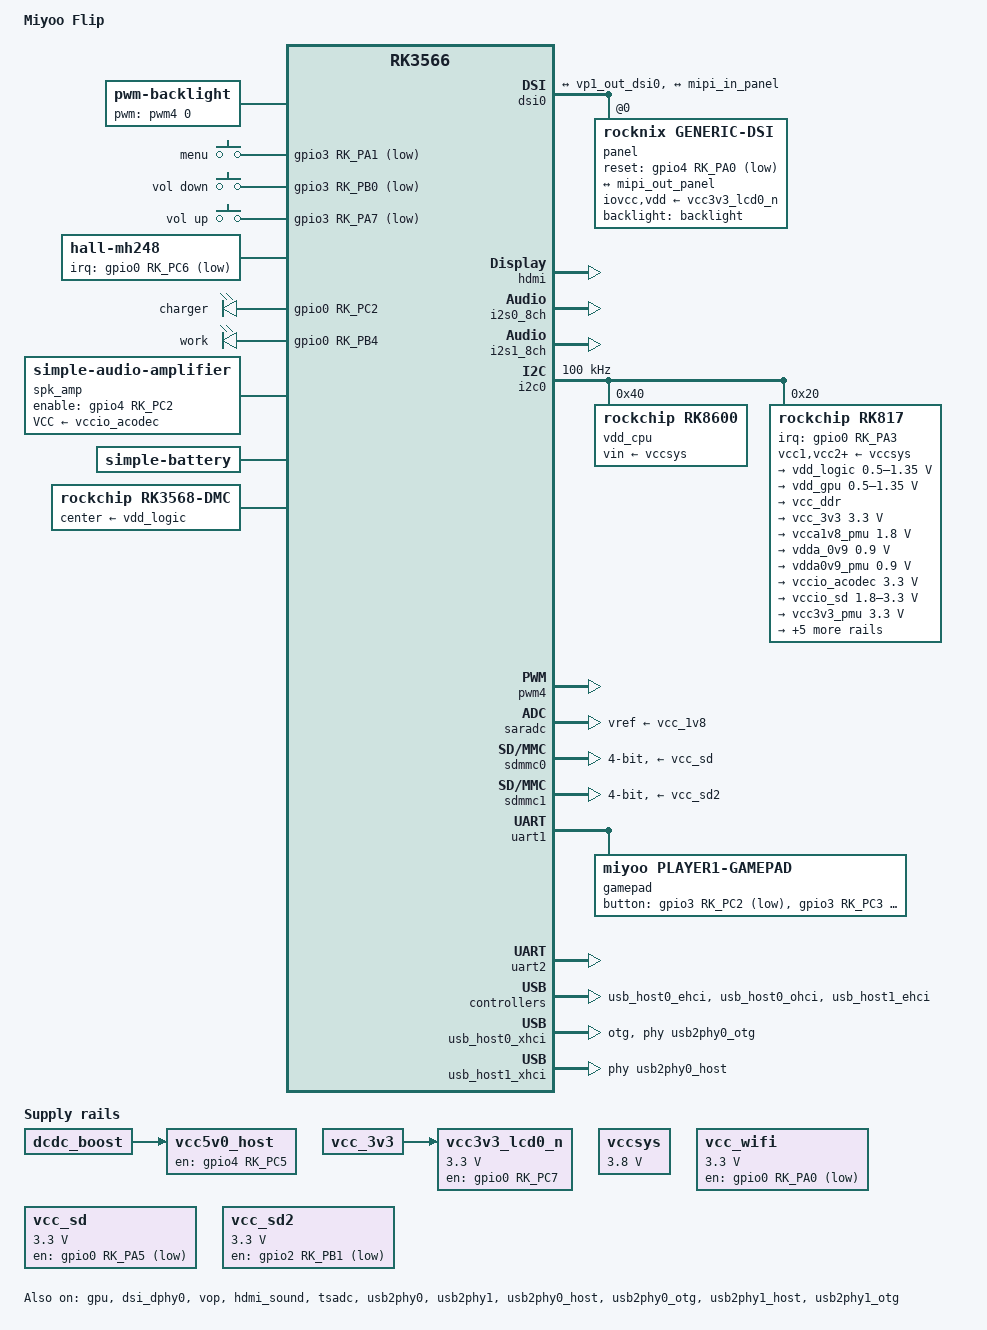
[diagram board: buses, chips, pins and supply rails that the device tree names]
// SPDX-License-Identifier: (GPL-2.0+ OR MIT)
/*
 * Miyoo Flip (my355) for BaseOS on mainline Linux.
 *
 * Hardware description after zlyme/ROCKNIX; every name stock-built software
 * reads follows the vendor DTB instead (docs/mainline-compat.md).
 */
/dts-v1/;

#include <dt-bindings/gpio/gpio.h>
#include <dt-bindings/input/input.h>
#include <dt-bindings/pinctrl/rockchip.h>
#include <dt-bindings/soc/rockchip,vop2.h>
#include "rk3566.dtsi"

/ {
	model = "Miyoo Flip";
	chassis-type = "handset";
	compatible = "miyoo,flip", "rockchip,rk3566";

	/* As the vendor kernel: the boot slot is mmcblk1, the second slot mmcblk2. */
	aliases {
		mmc1 = &sdmmc0;
		mmc2 = &sdmmc1;
		/* The codec is card 0, ALSA's default device, as on stock. */
		sound0 = &rk817_sound;
		sound1 = &hdmi_sound;
	};

	chosen {
		/*
		 * root= is GPT entry 3 (tools/mkgpt.py; mkfit.py checks it). init=:
		 * a disk root only tries /sbin/init and friends. The performance
		 * governor holds until the frontend picks one. USB devices wait for
		 * rcS to authorize them, or the WiFi chip's probe races the root mount.
		 */
		bootargs = "root=/dev/mmcblk1p3 rootfstype=ext4 rootwait ro init=/init quiet cpufreq.default_governor=performance usbcore.authorized_default=0";
		stdout-path = "serial2:1500000n8";
	};

	reserved-memory {
		/* The vendor OP-TEE, which mainline U-Boot does not describe. */
		optee@8400000 {
			reg = <0x0 0x08400000 0x0 0x01000000>;
			no-map;
		};
	};

	/*
	 * Brightness is the duty in 255ths, from 2%, where the panel still lights.
	 * Stock's table holds 1-38 at 7.8-15%; from 39 up the two are the same.
	 */
	backlight: backlight {
		compatible = "pwm-backlight";
		pwms = <&pwm4 0 1250000 0>;
		brightness-levels = <
			  0   5   5   5   5   5   6   7   8   9  10  11  12  13  14  15
			 16  17  18  19  20  21  22  23  24  25  26  27  28  29  30  31
			 32  33  34  35  36  37  38  39  40  41  42  43  44  45  46  47
			 48  49  50  51  52  53  54  55  56  57  58  59  60  61  62  63
			 64  65  66  67  68  69  70  71  72  73  74  75  76  77  78  79
			 80  81  82  83  84  85  86  87  88  89  90  91  92  93  94  95
			 96  97  98  99 100 101 102 103 104 105 106 107 108 109 110 111
			112 113 114 115 116 117 118 119 120 121 122 123 124 125 126 127
			128 129 130 131 132 133 134 135 136 137 138 139 140 141 142 143
			144 145 146 147 148 149 150 151 152 153 154 155 156 157 158 159
			160 161 162 163 164 165 166 167 168 169 170 171 172 173 174 175
			176 177 178 179 180 181 182 183 184 185 186 187 188 189 190 191
			192 193 194 195 196 197 198 199 200 201 202 203 204 205 206 207
			208 209 210 211 212 213 214 215 216 217 218 219 220 221 222 223
			224 225 226 227 228 229 230 231 232 233 234 235 236 237 238 239
			240 241 242 243 244 245 246 247 248 249 250 251 252 253 254 255>;
		default-brightness-level = <200>;
	};

	/*
	 * event0 for keymon, stock's node and codes trimmed to the three keys it
	 * reads; the game buttons are the gamepad's, so they are not typed twice.
	 * First under / so it registers before the other input devices.
	 */
	gpio-keys-polled {
		compatible = "gpio-keys-polled";
		autorepeat;
		poll-interval = <10>;
		pinctrl-names = "default";
		pinctrl-0 = <&key_pins>;

		mode-button {
			gpios = <&gpio3 RK_PA1 GPIO_ACTIVE_LOW>;
			label = "menu";
			linux,code = <KEY_ESC>;
		};
		vol-down-button {
			gpios = <&gpio3 RK_PB0 GPIO_ACTIVE_LOW>;
			label = "vol down";
			linux,code = <KEY_VOLUMEDOWN>;
		};
		vol-up-button {
			gpios = <&gpio3 RK_PA7 GPIO_ACTIVE_LOW>;
			label = "vol up";
			linux,code = <KEY_VOLUMEUP>;
		};
	};

	/* Stock's node, verbatim, for drivers/stock/hall-mh248.c. */
	hall-mh248 {
		compatible = "hall-mh248";
		hall-active = <1>;
		irq-gpio = <&gpio0 RK_PC6 (GPIO_ACTIVE_LOW | GPIO_SINGLE_ENDED)>;
	};

	/* Named as on stock: the Status LED pak writes work/ and charger/. */
	leds {
		compatible = "gpio-leds";

		charger {
			gpios = <&gpio0 RK_PC2 GPIO_ACTIVE_HIGH>;
			linux,default-trigger = "battery-charging";
			retain-state-suspended;
		};

		work {
			gpios = <&gpio0 RK_PB4 GPIO_ACTIVE_HIGH>;
			linux,default-trigger = "default-on";
		};
	};

	spk_amp: audio-amplifier {
		compatible = "simple-audio-amplifier";
		VCC-supply = <&vccio_acodec>;
		enable-gpios = <&gpio4 RK_PC2 GPIO_ACTIVE_HIGH>;
		pinctrl-names = "default";
		pinctrl-0 = <&spk_amp_enable_h>;
		sound-name-prefix = "Speaker Amp";
	};

	/*
	 * ALSA card id "rockchiprk817", which libmsettings looks for. No
	 * hp-det-gpios: GPIO4_C6 stays free for userspace as gpio150. The pin
	 * switches are what the codec's vendor "Playback Path" drives.
	 */
	rk817_sound: rk817-sound {
		compatible = "simple-audio-card";
		simple-audio-card,name = "rockchip-rk817";
		simple-audio-card,format = "i2s";
		simple-audio-card,aux-devs = <&spk_amp>;
		simple-audio-card,mclk-fs = <256>;
		simple-audio-card,widgets =
			"Microphone", "Mic Jack",
			"Headphone", "Headphone",
			"Speaker", "Speaker";
		simple-audio-card,routing =
			"MICL", "Mic Jack",
			"Headphone", "HPOL",
			"Headphone", "HPOR",
			"Speaker Amp INL", "SPKO",
			"Speaker Amp INR", "SPKO",
			"Speaker", "Speaker Amp OUTL",
			"Speaker", "Speaker Amp OUTR";
		simple-audio-card,pin-switches = "Speaker", "Headphone", "Mic Jack";

		simple-audio-card,cpu {
			sound-dai = <&i2s1_8ch>;
		};
		simple-audio-card,codec {
			sound-dai = <&rk817>;
		};
	};

	/*
	 * The vendor tree's cell: charged to 4.2 V, finished at 300 mA, and its
	 * ocv_table. The charge current is what the vendor kernel programmed.
	 */
	battery: battery {
		compatible = "simple-battery";
		charge-full-design-microamp-hours = <3000000>;
		charge-term-current-microamp = <300000>;
		constant-charge-current-max-microamp = <1500000>;
		constant-charge-voltage-max-microvolt = <4200000>;
		factory-internal-resistance-micro-ohms = <100000>;
		voltage-max-design-microvolt = <4200000>;
		voltage-min-design-microvolt = <3200000>;
		ocv-capacity-celsius = <20>;
		ocv-capacity-table-0 =
			<4150000 100>, <4057000 95>,  <3998000 90>,  <3967000 85>,  <3930000 80>,
			<3883000 75>,  <3849000 70>,  <3816000 65>,  <3773000 60>,  <3722000 55>,
			<3676000 50>,  <3638000 45>,  <3609000 40>,  <3587000 35>,  <3566000 30>,
			<3547000 25>,  <3525000 20>,  <3500000 15>,  <3469000 10>,  <3426000 5>,
			<3378000 0>;
	};

	vccsys: vccsys {
		compatible = "regulator-fixed";
		regulator-name = "vcc3v8_sys";
		regulator-always-on;
		regulator-boot-on;
		regulator-min-microvolt = <3800000>;
		regulator-max-microvolt = <3800000>;
	};

	/* The RTL8733BU's power (WiFi and Bluetooth): GPIO0_A0, active low. */
	vcc_wifi: vcc-wifi-regulator {
		compatible = "regulator-fixed";
		regulator-name = "vcc_wifi";
		regulator-min-microvolt = <3300000>;
		regulator-max-microvolt = <3300000>;
		regulator-boot-on;
		gpio = <&gpio0 RK_PA0 GPIO_ACTIVE_LOW>;
		pinctrl-names = "default";
		pinctrl-0 = <&wifi_enable_h>;
	};

	/* Stock's node, for drivers/stock/rkwifi.c: /sys/class/rkwifi over vcc_wifi. */
	wireless-wlan {
		compatible = "wlan-platdata";
		wifi_chip_type = "rtl8733bu";
		power-supply = <&vcc_wifi>;
	};

	vcc5v0_host: vcc5v0-host-regulator {
		compatible = "regulator-fixed";
		regulator-name = "vcc5v0_host";
		enable-active-high;
		gpio = <&gpio4 RK_PC5 GPIO_ACTIVE_HIGH>;
		vin-supply = <&dcdc_boost>;
		pinctrl-names = "default";
		pinctrl-0 = <&vcc5v0_host_en>;
	};

	/* U-Boot already switched it on (build-uboot.sh PANEL). */
	vcc3v3_lcd0_n: vcc3v3-lcd0-n {
		compatible = "regulator-fixed";
		regulator-name = "vcc3v3_lcd0_n";
		regulator-min-microvolt = <3300000>;
		regulator-max-microvolt = <3300000>;
		enable-active-high;
		gpio = <&gpio0 RK_PC7 GPIO_ACTIVE_HIGH>;
		vin-supply = <&vcc_3v3>;
		regulator-boot-on;
	};

	/*
	 * boot-on as on stock, so probe never cuts the card U-Boot booted from: a
	 * card cut and repowered on this board may not answer (docs/uboot.md).
	 */
	vcc_sd: vcc-sd {
		compatible = "regulator-fixed";
		regulator-name = "vcc_sd";
		regulator-boot-on;
		enable-active-low;
		gpio = <&gpio0 RK_PA5 GPIO_ACTIVE_LOW>;
		regulator-min-microvolt = <3300000>;
		regulator-max-microvolt = <3300000>;
		pinctrl-names = "default";
		pinctrl-0 = <&vcc_sd_h>;
	};

	vcc_sd2: vcc-sd2 {
		compatible = "regulator-fixed";
		regulator-name = "vcc_sd2";
		regulator-boot-on;
		enable-active-low;
		gpio = <&gpio2 RK_PB1 GPIO_ACTIVE_LOW>;
		regulator-min-microvolt = <3300000>;
		regulator-max-microvolt = <3300000>;
		pinctrl-names = "default";
		pinctrl-0 = <&vcc_sd2_h>;
	};

	/*
	 * Stock's BL31 suspend mode (drivers/hardware/rockchip-pm-config.c): 0x5ec is
	 * CENTER_OFF, ARMOFF_LOGOFF, PMIC_LP, HW_PLLS_OFF, PMUALIVE_32K, OSC_DIS
	 * and 32K_PVTM; 0x10 wakes on GPIO (power key, lid).
	 */
	rockchip-suspend {
		compatible = "rockchip,pm-rk3568";
		rockchip,sleep-mode-config = <0x5ec>;
		rockchip,wakeup-config = <0x10>;
	};

	/*
	 * DDR scaling through BL31 (drivers/hardware/rk3568-dmc.c), named as on
	 * stock: devfreq/dmc. The rates are BL31's, the voltages stock's per bin.
	 */
	dmc: dmc {
		compatible = "rockchip,rk3568-dmc";
		interrupts = <GIC_SPI 10 IRQ_TYPE_LEVEL_HIGH>;
		interrupt-names = "complete";
		devfreq-events = <&dfi>;
		center-supply = <&vdd_logic>;
		/* SCMI_CLK_DDR, which the bindings header lacks. */
		clocks = <&scmi_clk 3>;
		clock-names = "dmc_clk";
		operating-points-v2 = <&dmc_opp_table>;
	};

	dmc_opp_table: dmc-opp-table {
		compatible = "operating-points-v2";
		nvmem-cells = <&log_leakage>, <&cpu_pvtm>, <&mbist_vmin>;
		nvmem-cell-names = "leakage", "pvtm", "mbist-vmin";
		mbist-vmin = <825000 900000 950000>;
		rockchip,leakage-voltage-sel = <
			1	80	0
			81	254	1
		>;
		rockchip,pvtm-voltage-sel = <
			0	84000	0
			84001	100000	1
		>;

		opp-324000000 {
			opp-hz = /bits/ 64 <324000000>;
			opp-microvolt = <900000>;
			opp-microvolt-L1 = <875000>;
		};
		opp-528000000 {
			opp-hz = /bits/ 64 <528000000>;
			opp-microvolt = <900000>;
			opp-microvolt-L1 = <875000>;
		};
		opp-780000000 {
			opp-hz = /bits/ 64 <780000000>;
			opp-microvolt = <900000>;
			opp-microvolt-L1 = <875000>;
		};
		opp-1056000000 {
			opp-hz = /bits/ 64 <1056000000>;
			opp-microvolt = <900000>;
			opp-microvolt-L1 = <875000>;
		};
	};
};

&cpu0 {
	cpu-supply = <&vdd_cpu>;
};

&cpu1 {
	cpu-supply = <&vdd_cpu>;
};

&cpu2 {
	cpu-supply = <&vdd_cpu>;
};

&cpu3 {
	cpu-supply = <&vdd_cpu>;
};

/*
 * Stock's per-bin voltages, picked by rockchip-cpufreq-nvmem: past 816 MHz the
 * PVTPLL clock follows the voltage. 1992 is not turbo-mode: NextUI caps one below.
 */
&cpu0_opp_table {
	nvmem-cells = <&cpu_pvtm>, <&mbist_vmin>;
	nvmem-cell-names = "pvtm", "mbist-vmin";
	mbist-vmin = <825000 900000 950000>;
	rockchip,pvtm-voltage-sel = <
		0	84000	0
		84001	87000	1
		87001	91000	2
		91001	100000	3
	>;

	opp-1104000000 {
		opp-microvolt-L1 = <850000 850000 1150000>;
		opp-microvolt-L2 = <850000 850000 1150000>;
		opp-microvolt-L3 = <850000 850000 1150000>;
	};

	opp-1416000000 {
		opp-microvolt-L1 = <975000 975000 1150000>;
		opp-microvolt-L2 = <950000 950000 1150000>;
		opp-microvolt-L3 = <925000 925000 1150000>;
	};

	opp-1608000000 {
		opp-microvolt-L1 = <1050000 1050000 1150000>;
		opp-microvolt-L2 = <1025000 1025000 1150000>;
		opp-microvolt-L3 = <1000000 1000000 1150000>;
	};

	opp-1800000000 {
		opp-microvolt-L1 = <1100000 1100000 1150000>;
		opp-microvolt-L2 = <1075000 1075000 1150000>;
		opp-microvolt-L3 = <1050000 1050000 1150000>;
	};

	opp-1992000000 {
		opp-hz = /bits/ 64 <1992000000>;
		opp-microvolt = <1150000 1150000 1150000>;
		opp-microvolt-L1 = <1150000 1150000 1150000>;
		opp-microvolt-L2 = <1125000 1125000 1150000>;
		opp-microvolt-L3 = <1100000 1100000 1150000>;
		clock-latency-ns = <40000>;
	};
};

&cru {
	assigned-clocks = <&pmucru CLK_RTC_32K>, <&cru PLL_GPLL>,
			  <&pmucru PLL_PPLL>, <&cru PLL_VPLL>;
	assigned-clock-rates = <32768>, <1200000000>,
			       <200000000>, <1200000000>;
};

&gpu {
	mali-supply = <&vdd_gpu>;
	status = "okay";
};

/* Stock's top step, which the vendor BL31 serves; mainline stops at 800 MHz. */
&gpu_opp_table {
	opp-900000000 {
		opp-hz = /bits/ 64 <900000000>;
		opp-microvolt = <1000000 1000000 1000000>;
	};
};

&dsi0 {
	status = "okay";
	#address-cells = <1>;
	#size-cells = <0>;

	ports {
		dsi0_in: port@0 {
			reg = <0>;
			dsi0_in_vp1: endpoint {
				remote-endpoint = <&vp1_out_dsi0>;
			};
		};

		dsi0_out: port@1 {
			reg = <1>;
			mipi_out_panel: endpoint {
				remote-endpoint = <&mipi_in_panel>;
			};
		};
	};

	/*
	 * FT8006M, 640x480, 2 lanes; init sequence from the vendor DTB. Waits
	 * shortened as on the vendor path (docs/uboot.md): 120 ms after sleep-out,
	 * none after display-on.
	 */
	panel: panel@0 {
		compatible = "rocknix,generic-dsi";
		reg = <0>;
		panel_description =
			"G size=68,121 delays=0,10,120,0,20 format=rgb888 lanes=2 flags=0xa03",
			"M clock=32000 horizontal=640,150,120,120 vertical=480,20,6,12 default=1",
			"I seq=11 wait=120",
			"I seq=29 wait=32",
			"I seq=b9f11287",
			"I seq=b2780470",
			"I seq=b31010282803ff00000000",
			"I seq=b480",
			"I seq=b50a0a",
			"I seq=b82622f013",
			"I seq=ba318105f90e0e2000000000000000442500910a0000014f01000037",
			"I seq=bc47",
			"I seq=bf0211008004",
			"I seq=c0737350500000127300",
			"I seq=c17300323277f47777ccccffff1111000032",
			"I seq=c710000a0000000000edc500a5",
			"I seq=c810401e03",
			"I seq=cc0b",
			"I seq=e0000509293c3f3b37050a0c10131013121a000509293c3f3b37050a0c10131013121a",
			"I seq=e111119100000000",
			"I seq=e307070b0b0b0b00000000ff04c010",
			"I seq=e9c810020000b0b11131232880b0b127080004020000000004020000008888ba60240888888888888888ba713518888888888800000001000000000000000000",
			"I seq=ea970a820203070000000000008188ba17538888888888888088ba064288888888888823000002a500000000000000000000000000000000000000000000",
			"I seq=a500",
			"I seq=efffff01";
		pinctrl-names = "default";
		pinctrl-0 = <&lcd_rst>;
		reset-gpios = <&gpio4 RK_PA0 GPIO_ACTIVE_LOW>;
		backlight = <&backlight>;
		iovcc-supply = <&vcc3v3_lcd0_n>;
		vdd-supply = <&vcc3v3_lcd0_n>;

		port {
			mipi_in_panel: endpoint {
				remote-endpoint = <&mipi_out_panel>;
			};
		};
	};
};

&dsi_dphy0 {
	status = "okay";
};

&vp1 {
	vp1_out_dsi0: endpoint@ROCKCHIP_VOP2_EP_MIPI0 {
		reg = <ROCKCHIP_VOP2_EP_MIPI0>;
		remote-endpoint = <&dsi0_in_vp1>;
	};
};

&vp0 {
	vp0_out_hdmi: endpoint@ROCKCHIP_VOP2_EP_HDMI0 {
		reg = <ROCKCHIP_VOP2_EP_HDMI0>;
		remote-endpoint = <&hdmi_in_vp0>;
	};
};

&vop {
	status = "okay";
	assigned-clocks = <&cru DCLK_VOP0>, <&cru DCLK_VOP1>;
	assigned-clock-parents = <&pmucru PLL_HPLL>, <&cru PLL_VPLL>;
};

&vop_mmu {
	status = "okay";
};

&hdmi {
	status = "okay";
	avdd-0v9-supply = <&vdda_0v9>;
	avdd-1v8-supply = <&vcc_1v8>;
};

&hdmi_in {
	hdmi_in_vp0: endpoint {
		remote-endpoint = <&vp0_out_hdmi>;
	};
};

/* ALSA card id "rockchiphdmi", which libmsettings switches to on HDMI. */
&hdmi_sound {
	simple-audio-card,name = "rockchip,hdmi";
	status = "okay";
};

&i2s0_8ch {
	status = "okay";
};

&i2s1_8ch {
	status = "okay";
	rockchip,trcm-sync-tx-only;
	pinctrl-names = "default";
	pinctrl-0 = <&i2s1m0_sclktx &i2s1m0_lrcktx &i2s1m0_sdi0 &i2s1m0_sdo0>;
};

&i2c0 {
	status = "okay";
	clock-frequency = <100000>;

	vdd_cpu: regulator@40 {
		compatible = "rockchip,rk8600";
		reg = <0x40>;
		vin-supply = <&vccsys>;
		regulator-name = "vdd_cpu";
		regulator-min-microvolt = <712500>;
		regulator-max-microvolt = <1390000>;
		regulator-ramp-delay = <2300>;
		/* A wrong selector drops the CPU rail right after probe. */
		fcs,suspend-voltage-selector = <1>;
		regulator-boot-on;
		regulator-always-on;

		regulator-state-mem {
			regulator-off-in-suspend;
		};
	};

	rk817: pmic@20 {
		compatible = "rockchip,rk817";
		reg = <0x20>;
		interrupt-parent = <&gpio0>;
		interrupts = <RK_PA3 IRQ_TYPE_LEVEL_LOW>;
		pinctrl-names = "default";
		pinctrl-0 = <&pmic_int_l>, <&i2s1m0_mclk>, <&pmic_pins>;
		system-power-controller;
		wakeup-source;
		#clock-cells = <1>;
		#sound-dai-cells = <0>;
		clock-output-names = "rk808-clkout1", "rk808-clkout2";
		clock-names = "mclk";
		clocks = <&cru I2S1_MCLKOUT_TX>;
		assigned-clocks = <&cru I2S1_MCLKOUT_TX>;
		assigned-clock-parents = <&cru CLK_I2S1_8CH_TX>;
		assigned-clock-rates = <12288000>;

		vcc1-supply = <&vccsys>;
		vcc2-supply = <&vccsys>;
		vcc3-supply = <&vccsys>;
		vcc4-supply = <&vccsys>;
		vcc5-supply = <&vccsys>;
		vcc6-supply = <&vccsys>;
		vcc7-supply = <&vccsys>;
		vcc8-supply = <&vccsys>;
		/* Not dcdc_boost: that would be a pmic -> BOOST -> pmic devlink cycle. */
		vcc9-supply = <&vccsys>;

		pwrkey {
			status = "okay";
		};

		/* Sleep states are stock's, but vccio_sd: BaseOS runs from the card. */
		regulators {
			vdd_logic: DCDC_REG1 {
				regulator-name = "vdd_logic";
				regulator-always-on;
				regulator-boot-on;
				regulator-min-microvolt = <500000>;
				regulator-max-microvolt = <1350000>;
				regulator-ramp-delay = <6001>;
				regulator-initial-mode = <0x2>;

				regulator-state-mem {
					regulator-off-in-suspend;
				};
			};

			/*
			 * Always-on: mali_kbase disables it on runtime suspend without
			 * having enabled it, and the unused-regulator cleanup then cuts it.
			 */
			vdd_gpu: DCDC_REG2 {
				regulator-name = "vdd_gpu";
				regulator-always-on;
				regulator-boot-on;
				regulator-min-microvolt = <500000>;
				regulator-max-microvolt = <1350000>;
				regulator-ramp-delay = <6001>;
				regulator-initial-mode = <0x2>;

				regulator-state-mem {
					regulator-off-in-suspend;
				};
			};

			vcc_ddr: DCDC_REG3 {
				regulator-name = "vcc_ddr";
				regulator-always-on;
				regulator-boot-on;
				regulator-initial-mode = <0x2>;

				regulator-state-mem {
					regulator-on-in-suspend;
				};
			};

			vcc_3v3: DCDC_REG4 {
				regulator-name = "vcc_3v3";
				regulator-always-on;
				regulator-boot-on;
				regulator-min-microvolt = <3300000>;
				regulator-max-microvolt = <3300000>;
				regulator-initial-mode = <0x2>;

				regulator-state-mem {
					regulator-off-in-suspend;
				};
			};

			vcca1v8_pmu: LDO_REG1 {
				regulator-name = "vcca1v8_pmu";
				regulator-always-on;
				regulator-boot-on;
				regulator-min-microvolt = <1800000>;
				regulator-max-microvolt = <1800000>;

				regulator-state-mem {
					regulator-on-in-suspend;
					regulator-suspend-microvolt = <1800000>;
				};
			};

			vdda_0v9: LDO_REG2 {
				regulator-name = "vdda_0v9";
				regulator-always-on;
				regulator-boot-on;
				regulator-min-microvolt = <900000>;
				regulator-max-microvolt = <900000>;

				regulator-state-mem {
					regulator-off-in-suspend;
				};
			};

			vdda0v9_pmu: LDO_REG3 {
				regulator-name = "vdda0v9_pmu";
				regulator-always-on;
				regulator-boot-on;
				regulator-min-microvolt = <900000>;
				regulator-max-microvolt = <900000>;

				regulator-state-mem {
					regulator-on-in-suspend;
					regulator-suspend-microvolt = <900000>;
				};
			};

			vccio_acodec: LDO_REG4 {
				regulator-name = "vccio_acodec";
				regulator-always-on;
				regulator-boot-on;
				regulator-min-microvolt = <3300000>;
				regulator-max-microvolt = <3300000>;

				regulator-state-mem {
					regulator-off-in-suspend;
				};
			};

			vccio_sd: LDO_REG5 {
				regulator-name = "vccio_sd";
				regulator-always-on;
				regulator-boot-on;
				regulator-min-microvolt = <1800000>;
				regulator-max-microvolt = <3300000>;

				regulator-state-mem {
					regulator-on-in-suspend;
					regulator-suspend-microvolt = <3300000>;
				};
			};

			vcc3v3_pmu: LDO_REG6 {
				regulator-name = "vcc3v3_pmu";
				regulator-always-on;
				regulator-boot-on;
				regulator-min-microvolt = <3300000>;
				regulator-max-microvolt = <3300000>;

				regulator-state-mem {
					regulator-on-in-suspend;
					regulator-suspend-microvolt = <3300000>;
				};
			};

			vcc_1v8: LDO_REG7 {
				regulator-name = "vcc_1v8";
				regulator-always-on;
				regulator-boot-on;
				regulator-min-microvolt = <1800000>;
				regulator-max-microvolt = <1800000>;

				regulator-state-mem {
					regulator-off-in-suspend;
				};
			};

			vcc1v8_dvp: LDO_REG8 {
				regulator-name = "vcc1v8_dvp";
				regulator-min-microvolt = <1800000>;
				regulator-max-microvolt = <1800000>;

				regulator-state-mem {
					regulator-off-in-suspend;
				};
			};

			vcc2v8_dvp: LDO_REG9 {
				regulator-name = "vcc2v8_dvp";
				regulator-min-microvolt = <2800000>;
				regulator-max-microvolt = <2800000>;

				regulator-state-mem {
					regulator-off-in-suspend;
				};
			};

			dcdc_boost: BOOST {
				regulator-name = "boost";
				regulator-min-microvolt = <5000000>;
				regulator-max-microvolt = <5000000>;

				regulator-state-mem {
					regulator-off-in-suspend;
				};
			};

			otg_switch: OTG_SWITCH {
				regulator-name = "otg_switch";

				regulator-state-mem {
					regulator-off-in-suspend;
				};
			};
		};

		/* Supplies named battery and usb by patch 0022, as stock software reads them. */
		rk817_charger: charger {
			monitored-battery = <&battery>;
			rockchip,resistor-sense-micro-ohms = <10000>;
			rockchip,sleep-enter-current-microamp = <300000>;
			rockchip,sleep-filter-current-microamp = <100000>;
		};

		codec {
		};
	};
};

&otp {
	nvmem-layout {
		mbist_vmin: mbist-vmin@9 {
			reg = <0x09 0x1>;
			bits = <0 4>;
		};

		cpu_pvtm: cpu-pvtm@2a {
			reg = <0x2a 0x2>;
		};
	};
};

&pinctrl {
	buttons {
		key_pins: key-pins {
			rockchip,pins =
				<3 RK_PA1 RK_FUNC_GPIO &pcfg_pull_up>,
				<3 RK_PA7 RK_FUNC_GPIO &pcfg_pull_up>,
				<3 RK_PB0 RK_FUNC_GPIO &pcfg_pull_up>;
		};

		pad_pins: pad-pins {
			rockchip,pins =
				<2 RK_PC0 RK_FUNC_GPIO &pcfg_pull_down>,
				<2 RK_PC1 RK_FUNC_GPIO &pcfg_pull_down>,
				<3 RK_PA3 RK_FUNC_GPIO &pcfg_pull_up>,
				<3 RK_PA4 RK_FUNC_GPIO &pcfg_pull_up>,
				<3 RK_PA5 RK_FUNC_GPIO &pcfg_pull_up>,
				<3 RK_PA6 RK_FUNC_GPIO &pcfg_pull_up>,
				<3 RK_PB1 RK_FUNC_GPIO &pcfg_pull_up>,
				<3 RK_PB2 RK_FUNC_GPIO &pcfg_pull_up>,
				<3 RK_PB3 RK_FUNC_GPIO &pcfg_pull_up>,
				<3 RK_PB4 RK_FUNC_GPIO &pcfg_pull_up>,
				<3 RK_PB5 RK_FUNC_GPIO &pcfg_pull_up>,
				<3 RK_PB6 RK_FUNC_GPIO &pcfg_pull_up>,
				<3 RK_PC0 RK_FUNC_GPIO &pcfg_pull_up>,
				<3 RK_PC1 RK_FUNC_GPIO &pcfg_pull_up>,
				<3 RK_PC2 RK_FUNC_GPIO &pcfg_pull_up>,
				<3 RK_PC3 RK_FUNC_GPIO &pcfg_pull_up>;
		};
	};

	wireless-wlan {
		/* Pulled up, so off while undriven. */
		wifi_enable_h: wifi-enable-h {
			rockchip,pins = <0 RK_PA0 RK_FUNC_GPIO &pcfg_pull_up>;
		};
	};

	audio-amplifier {
		spk_amp_enable_h: spk-amp-enable-h {
			rockchip,pins = <4 RK_PC2 RK_FUNC_GPIO &pcfg_pull_down>;
		};
	};

	gpio-lcd {
		lcd_rst: lcd-rst {
			rockchip,pins = <4 RK_PA0 RK_FUNC_GPIO &pcfg_pull_none>;
		};
	};

	pmic {
		pmic_int_l: pmic-int-l {
			rockchip,pins = <0 RK_PA3 RK_FUNC_GPIO &pcfg_pull_up>;
		};
	};

	usb {
		vcc5v0_host_en: vcc5v0-host-en {
			rockchip,pins = <4 RK_PC5 RK_FUNC_GPIO &pcfg_pull_down>;
		};
	};

	vcc-sd {
		vcc_sd_h: vcc-sd-h {
			rockchip,pins = <0 RK_PA5 RK_FUNC_GPIO &pcfg_pull_down>;
		};
		vcc_sd2_h: vcc-sd2-h {
			rockchip,pins = <2 RK_PB1 RK_FUNC_GPIO &pcfg_pull_down>;
		};
	};
};

/*
 * The stock modes. U-Boot reads PMU_GRF_OS_REG0 and enters charge mode on
 * "reboot charge", which a shutdown with the charger in turns into.
 */
&pmugrf {
	reboot-mode {
		compatible = "syscon-reboot-mode";
		offset = <0x200>;
		mode-normal = <0x5242c300>;
		mode-bootloader = <0x5242c301>;
		mode-loader = <0x5242c301>;
		mode-recovery = <0x5242c303>;
		mode-panic = <0x5242c307>;
		mode-watchdog = <0x5242c308>;
		mode-fastboot = <0x5242c309>;
		mode-charge = <0x5242c30b>;
		mode-ums = <0x5242c30c>;
	};
};

&pmu_io_domains {
	status = "okay";
	pmuio1-supply = <&vcc3v3_pmu>;
	pmuio2-supply = <&vcc3v3_pmu>;
	vccio1-supply = <&vccio_acodec>;
	vccio3-supply = <&vccio_sd>;
	vccio4-supply = <&vcc_3v3>;
	vccio5-supply = <&vcc_1v8>;
	vccio6-supply = <&vcc_1v8>;
	vccio7-supply = <&vcc_3v3>;
};

/*
 * The only PWM enabled, so it is pwmchip0 as launch.sh expects. pwm5 stays
 * off: the rumble motor on GPIO0_C4 is gpio20 to userspace.
 */
&pwm4 {
	status = "okay";
};

&saradc {
	status = "okay";
	vref-supply = <&vcc_1v8>;
};

&sdmmc0 {
	max-frequency = <150000000>;
	no-sdio;
	no-mmc;
	bus-width = <4>;
	cap-sd-highspeed;
	disable-wp;
	sd-uhs-sdr12;
	sd-uhs-sdr25;
	sd-uhs-sdr50;
	sd-uhs-sdr104;
	/* 10° steps, as the vendor path: fewer reads land on the bad window's edge. */
	rockchip,desired-num-phases = <36>;
	vmmc-supply = <&vcc_sd>;
	vqmmc-supply = <&vccio_sd>;
	/*
	 * Not a regulator: fw_devlink probes the slot after the io-domains, so
	 * UHS tuning doesn't run with vccio3's pads still in 3.3 V mode.
	 */
	io-domains-supply = <&pmu_io_domains>;
	pinctrl-names = "default";
	pinctrl-0 = <&sdmmc0_bus4 &sdmmc0_clk &sdmmc0_cmd &sdmmc0_det>;
	status = "okay";
};

/*
 * vccio_sd is shared with the boot slot and belongs to it: high speed only,
 * no UHS switch. Slot 1's pins are on a fixed 3.3 V domain.
 */
&sdmmc1 {
	max-frequency = <150000000>;
	no-sdio;
	no-mmc;
	bus-width = <4>;
	cap-sd-highspeed;
	disable-wp;
	vmmc-supply = <&vcc_sd2>;
	pinctrl-names = "default";
	pinctrl-0 = <&sdmmc1_bus4 &sdmmc1_clk &sdmmc1_cmd &sdmmc1_det>;
	status = "okay";
};

&tsadc {
	status = "okay";
	rockchip,hw-tshut-mode = <0>;
	rockchip,hw-tshut-polarity = <0>;
};

&uart1 {
	status = "okay";
	pinctrl-names = "default";
	pinctrl-0 = <&uart1m0_xfer &uart1m0_ctsn>;

	/*
	 * The stick MCU and the game buttons, read by drivers/hardware/miyoo-player1.c
	 * instead of miyoo_inputd. Pins as on stock, in the driver's order.
	 */
	gamepad {
		compatible = "miyoo,player1-gamepad";
		pinctrl-names = "default";
		pinctrl-0 = <&pad_pins>;
		button-gpios =
			<&gpio3 RK_PC2 GPIO_ACTIVE_LOW>,	/* b */
			<&gpio3 RK_PC3 GPIO_ACTIVE_LOW>,	/* a */
			<&gpio3 RK_PC1 GPIO_ACTIVE_LOW>,	/* x */
			<&gpio3 RK_PC0 GPIO_ACTIVE_LOW>,	/* y */
			<&gpio3 RK_PB1 GPIO_ACTIVE_LOW>,	/* l1 */
			<&gpio3 RK_PB3 GPIO_ACTIVE_LOW>,	/* r1 */
			<&gpio3 RK_PB6 GPIO_ACTIVE_LOW>,	/* select */
			<&gpio3 RK_PB5 GPIO_ACTIVE_LOW>,	/* start */
			<&gpio2 RK_PC1 GPIO_ACTIVE_HIGH>,	/* l3 */
			<&gpio2 RK_PC0 GPIO_ACTIVE_HIGH>,	/* r3 */
			<&gpio3 RK_PB2 GPIO_ACTIVE_LOW>,	/* l2 */
			<&gpio3 RK_PB4 GPIO_ACTIVE_LOW>,	/* r2 */
			<&gpio3 RK_PA3 GPIO_ACTIVE_LOW>,	/* up */
			<&gpio3 RK_PA4 GPIO_ACTIVE_LOW>,	/* down */
			<&gpio3 RK_PA5 GPIO_ACTIVE_LOW>,	/* left */
			<&gpio3 RK_PA6 GPIO_ACTIVE_LOW>;	/* right */
	};
};

&uart2 {
	status = "okay";
};

&usb2phy0 {
	status = "okay";
};

&usb2phy1 {
	status = "okay";
};

&usb2phy0_host {
	phy-supply = <&vcc_3v3>;
	status = "okay";
};

&usb2phy0_otg {
	status = "okay";
};

&usb2phy1_host {
	phy-supply = <&vcc_3v3>;
	status = "okay";
};

&usb2phy1_otg {
	phy-supply = <&vcc5v0_host>;
	status = "okay";
};

&usb_host0_ehci {
	status = "okay";
};

/*
 * Plus the PHY's 480 MHz, as on stock ("utmi"): OHCI runs from the 48 MHz
 * derived from it, and suspend hung in its callback while nothing held it.
 */
&usb_host0_ohci {
	clocks = <&cru HCLK_USB2HOST0>, <&cru HCLK_USB2HOST0_ARB>,
		 <&cru PCLK_USB>, <&usb2phy1>;
	status = "okay";
};

/*
 * The adb port, OTG as in zlyme, where device mode is proven. usb-gadget-adb
 * binds only once the PHY reports a data cable: bound idle, EP0 fails.
 */
&usb_host0_xhci {
	status = "okay";
	dr_mode = "otg";
	extcon = <&usb2phy0>;
	phys = <&usb2phy0_otg>;
	phy-names = "usb2-phy";
};

&usb_host1_xhci {
	status = "okay";
	phys = <&usb2phy0_host>;
	phy-names = "usb2-phy";
	maximum-speed = "high-speed";
};

&usb_host1_ehci {
	status = "okay";
};
